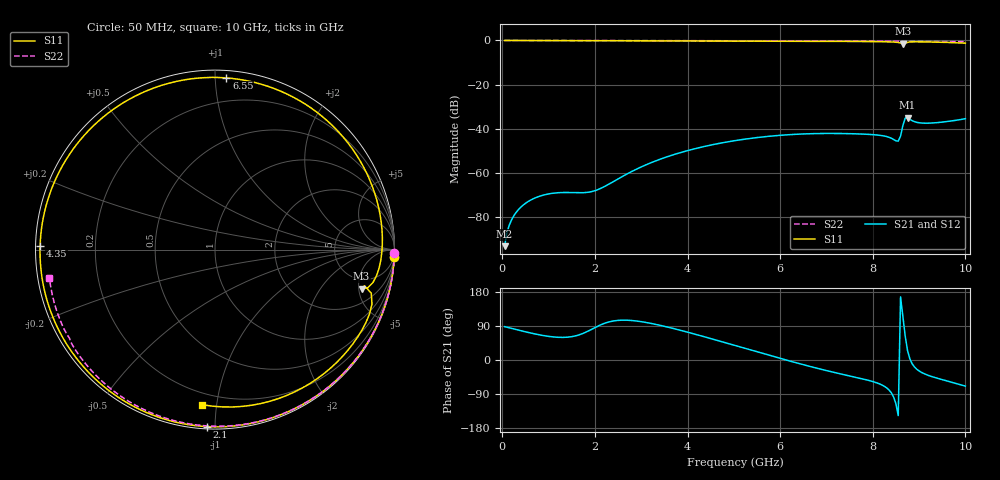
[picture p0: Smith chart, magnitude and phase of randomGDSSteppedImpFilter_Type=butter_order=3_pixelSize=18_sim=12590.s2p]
! freq	dB(S11)	phase(S11)	dB(S12)	phase(S12)
!  dB(S21)	phase(S21)	dB(S22)	phase(S22)
!S-par simulation data
#  GHz  S  DB  R 50
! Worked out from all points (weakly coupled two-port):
!   200 points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, 50 MHz to 10 GHz, reference 50 ohm
!   highest |S21| = -35.04 dB at 8.75 GHz (marker M1); lowest = -93.4 dB at 50 MHz (marker M2)
!   lowest |S11| = -1.5 dB at 8.65 GHz (marker M3), VSWR 11.89, Z = 177 - j268 ohm
!   |S11| at or under -10 dB: nowhere
!   |S22| runs from -0.6 to 0.0 dB; largest |S21 - S12| = 0
!   S11 on the Smith chart (normalised r, x): 50 MHz: 1, -49; 2.1 GHz: 0.01, -0.95; 4.35 GHz: 0.01, +0.01; 6.55 GHz: 0.05, +1.07; 10 GHz: 0.13, -0.91
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0.05  -0.01 -2.4  -93.36 88.0  -93.36 88.0  -0.00 -1.0
0.25  -0.02 -11.6  -79.52 82.0  -79.52 82.0  -0.01 -4.8
0.5  -0.03 -23.0  -73.92 74.4  -73.92 74.4  -0.01 -9.6
0.85  -0.05 -38.9  -70.39 65.3  -70.39 65.3  -0.02 -16.2
1.75  -0.10 -78.1  -69.10 70.5  -69.10 70.5  -0.04 -33.1
2.1  -0.11 -92.7  -67.37 91.4  -67.37 91.4  -0.05 -39.5
2.7  -0.14 -116.9  -60.50 105.0  -60.50 105.0  -0.07 -50.4
3.4  -0.17 -144.3  -53.96 91.7  -53.96 91.7  -0.08 -62.8
4.35  -0.22 178.9  -48.17 61.8  -48.17 61.8  -0.11 -79.1
5.05  -0.27 151.0  -45.37 37.5  -45.37 37.5  -0.14 -90.7
5.85  -0.32 117.5  -43.31 9.5  -43.31 9.5  -0.18 -103.6
6.55  -0.37 86.2  -42.39 -14.0  -42.39 -14.0  -0.22 -114.7
6.7  -0.38 79.3  -42.29 -18.8  -42.29 -18.8  -0.23 -117.1
7.6  -0.45 36.5  -42.35 -44.8  -42.35 -44.8  -0.30 -131.2
8.35  -0.63 -1.0  -43.94 -79.0  -43.94 -79.0  -0.37 -143.1
8.55  -0.92 -11.7  -45.68 -146.8  -45.68 -146.8  -0.39 -146.3
8.65  -1.46 -14.9  -38.61 115.1  -38.61 115.1  -0.43 -148.0
8.7  -1.34 -13.6  -35.27 63.5  -35.27 63.5  -0.45 -148.7
8.75  -0.88 -15.6  -35.04 25.1  -35.04 25.1  -0.45 -149.3
9  -0.61 -31.5  -37.35 -28.9  -37.35 -28.9  -0.45 -153.4
9.4  -0.78 -54.5  -37.27 -48.4  -37.27 -48.4  -0.49 -160.0
10  -1.24 -94.9  -35.50 -68.9  -35.50 -68.9  -0.58 -170.1
